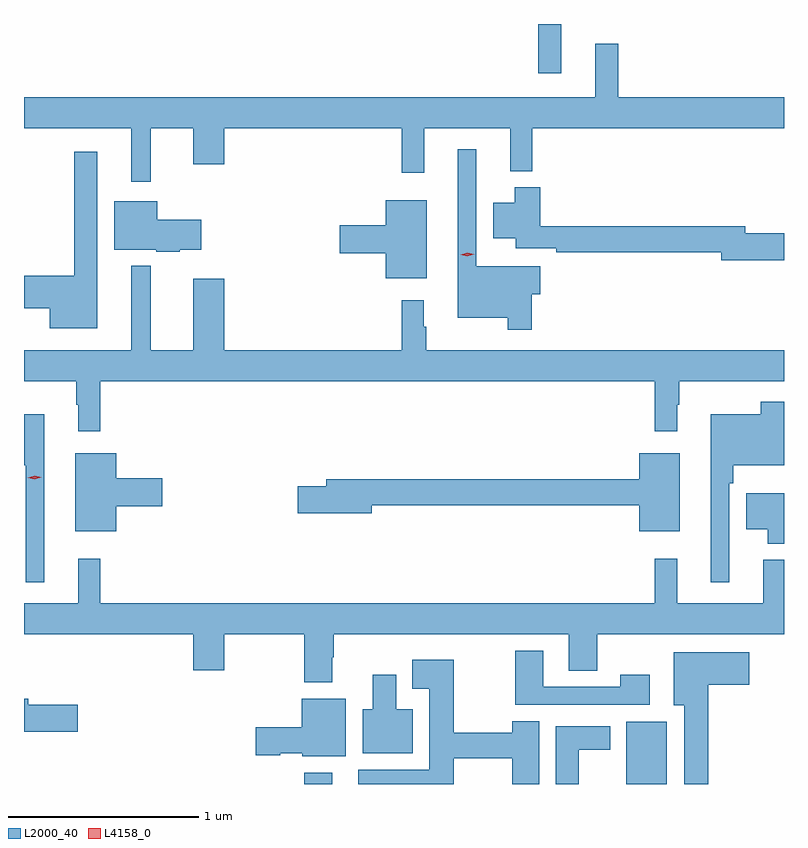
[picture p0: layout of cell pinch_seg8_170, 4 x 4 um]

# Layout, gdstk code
import gdstk
lib = gdstk.Library(unit=1e-6, precision=1e-09)
def R(c, l, rs):  # rectangles x0, y0, x1, y1
    for r in rs: c.add(gdstk.rectangle(r[:2], r[2:], *l))
def P(c, l, *ps):  # polygons
    for p in ps: c.add(gdstk.Polygon(p, *l))
L2000_40 = (2000, 40)
L4158_0 = (4158, 0)

pinch_seg8_170 = lib.new_cell('pinch_seg8_170')
R(pinch_seg8_170, L2000_40, [(693.064,1122.373,693.211,1122.433), (694.76,1122.373,694.972,1122.7), (694.296,1126.113,694.417,1126.373)])
P(pinch_seg8_170, L2000_40, [(692.257,1125.824),(692.48,1125.824),(692.48,1125.636),(692.644,1125.636),(692.644,1125.824),(693.577,1125.824),(693.577,1125.591),(693.695,1125.591),(693.695,1125.824),(694.148,1125.824),(694.148,1125.599),(694.265,1125.599),(694.265,1125.824),(695.589,1125.824),(695.589,1125.988),(694.717,1125.988),(694.717,1126.27),(694.595,1126.27),(694.595,1125.988),(691.589,1125.988),(691.589,1125.824),(692.153,1125.824),(692.153,1125.543),(692.257,1125.543)],
  [(694.262,1124.95),(694.306,1124.95),(694.306,1125.097),(693.969,1125.097),(693.969,1125.715),(693.872,1125.715),(693.872,1124.828),(694.134,1124.828),(694.134,1124.763),(694.262,1124.763)],
  [(691.975,1125.7),(691.854,1125.7),(691.854,1125.047),(691.589,1125.047),(691.589,1124.876),(691.724,1124.876),(691.724,1124.771),(691.975,1124.771)],
  [(695.589,1125.272),(695.386,1125.272),(695.386,1125.308),(694.307,1125.308),(694.307,1125.514),(694.172,1125.514),(694.172,1125.433),(694.058,1125.433),(694.058,1125.245),(694.178,1125.245),(694.178,1125.192),(694.39,1125.192),(694.39,1125.172),(695.258,1125.172),(695.258,1125.13),(695.589,1125.13)],
  [(693.709,1125.445),(693.494,1125.445),(693.494,1125.314),(693.252,1125.314),(693.252,1125.167),(693.494,1125.167),(693.494,1125.035),(693.709,1125.035)],
  [(692.408,1125.185),(692.521,1125.185),(692.521,1125.343),(692.29,1125.343),(692.29,1125.439),(692.063,1125.439),(692.063,1125.185),(692.286,1125.185),(692.286,1125.175),(692.408,1125.175)],
  [(691.991,1124.492),(694.909,1124.492),(694.909,1124.229),(695.026,1124.229),(695.026,1124.369),(695.038,1124.369),(695.038,1124.492),(695.589,1124.492),(695.589,1124.656),(693.706,1124.656),(693.706,1124.78),(693.694,1124.78),(693.694,1124.92),(693.577,1124.92),(693.577,1124.656),(692.644,1124.656),(692.644,1125.031),(692.48,1125.031),(692.48,1124.656),(692.257,1124.656),(692.257,1124.993),(692.256,1124.993),(692.256,1125.1),(692.153,1125.1),(692.153,1124.656),(691.589,1124.656),(691.589,1124.492),(691.863,1124.492),(691.863,1124.369),(691.874,1124.369),(691.874,1124.229),(691.991,1124.229)],
  [(695.301,1123.955),(695.321,1123.955),(695.321,1124.051),(695.589,1124.051),(695.589,1124.386),(695.466,1124.386),(695.466,1124.32),(695.204,1124.32),(695.204,1123.434),(695.301,1123.434)],
  [(691.696,1124.32),(691.589,1124.32),(691.589,1124.051),(691.599,1124.051),(691.599,1123.434),(691.696,1123.434)],
  [(695.041,1124.113),(694.826,1124.113),(694.826,1123.976),(693.179,1123.976),(693.179,1123.94),(693.03,1123.94),(693.03,1123.798),(693.418,1123.798),(693.418,1123.84),(694.826,1123.84),(694.826,1123.703),(695.041,1123.703)],
  [(692.074,1123.835),(692.317,1123.835),(692.317,1123.982),(692.074,1123.982),(692.074,1124.113),(691.859,1124.113),(691.859,1123.703),(692.074,1123.703)],
  [(695.589,1123.903),(695.39,1123.903),(695.39,1123.715),(695.504,1123.715),(695.504,1123.637),(695.589,1123.637)],
  [(693.211,1123.04),(693.219,1123.04),(693.219,1123.16),(694.457,1123.16),(694.457,1122.97),(694.605,1122.97),(694.605,1123.16),(695.589,1123.16),(695.589,1123.552),(695.48,1123.552),(695.48,1123.324),(695.027,1123.324),(695.027,1123.558),(694.909,1123.558),(694.909,1123.324),(691.991,1123.324),(691.991,1123.558),(691.874,1123.558),(691.874,1123.324),(691.589,1123.324),(691.589,1123.16),(692.48,1123.16),(692.48,1122.972),(692.644,1122.972),(692.644,1123.16),(693.064,1123.16),(693.064,1122.908),(693.211,1122.908)],
  [(694.882,1122.949),(694.726,1122.949),(694.726,1122.885),(694.321,1122.885),(694.321,1123.075),(694.174,1123.075),(694.174,1122.789),(694.882,1122.789)],
  [(695.189,1122.896),(695.407,1122.896),(695.407,1123.066),(695.009,1123.066),(695.009,1122.788),(695.063,1122.788),(695.063,1122.373),(695.189,1122.373)],
  [(693.852,1122.508),(694.159,1122.508),(694.159,1122.373),(694.3,1122.373),(694.3,1122.704),(694.159,1122.704),(694.159,1122.644),(693.852,1122.644),(693.852,1123.027),(693.632,1123.027),(693.632,1122.875),(693.722,1122.875),(693.722,1122.448),(693.347,1122.448),(693.347,1122.373),(693.852,1122.373)],
  [(693.634,1122.766),(693.547,1122.766),(693.547,1122.949),(693.425,1122.949),(693.425,1122.766),(693.371,1122.766),(693.371,1122.536),(693.634,1122.536)],
  [(691.873,1122.789),(691.612,1122.789),(691.612,1122.823),(691.589,1122.823),(691.589,1122.647),(691.873,1122.647)],
  [(693.283,1122.823),(693.05,1122.823),(693.05,1122.671),(692.808,1122.671),(692.808,1122.524),(692.937,1122.524),(692.937,1122.536),(693.054,1122.536),(693.054,1122.518),(693.283,1122.518)],
  [(694.51,1122.554),(694.675,1122.554),(694.675,1122.676),(694.388,1122.676),(694.388,1122.373),(694.51,1122.373)])
P(pinch_seg8_170, L4158_0, [(693.923,1125.15),(693.888,1125.159),(693.888,1125.159),(693.888,1125.159),(693.923,1125.17),(693.958,1125.162),(693.959,1125.162),(693.958,1125.161)],
  [(691.646,1123.976),(691.61,1123.984),(691.609,1123.984),(691.61,1123.984),(691.645,1123.996),(691.681,1123.988),(691.681,1123.988),(691.681,1123.988)])

lib.write_gds('pinch_seg8_170.gds')
